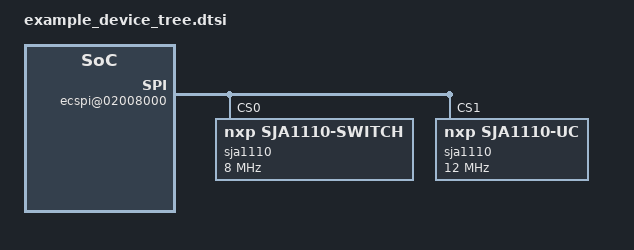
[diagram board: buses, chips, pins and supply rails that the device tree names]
/**
 * Example device tree configuration of the SPI interface for NXP SJA1110
 */

/ {
	ecspi@02008000 {
		#address-cells = <0x1>;
		#size-cells = <0x0>;
		compatible = "fsl,imx6q-ecspi", "fsl,imx51-ecspi";
		reg = <0x2008000 0x4000>;
		interrupts = <0x0 0x1f 0x4>;
		clocks = <0x3 0x70 0x3 0x70>;
		clock-names = "ipg", "per";
		dmas = <0x6 0x3 0x7 0x1 0x6 0x4 0x7 0x2>;
		dma-names = "rx", "tx";
		status = "okay";
		fsl,spi-num-chipselects = <0x1>;
		cs-gpios = <0x9 0x13 0x0>;
		pinctrl-names = "default";
		pinctrl-0 = <0xa 0xb>;
		pinctrl-assert-gpios = <0xc 0x4 0x1>;

		/* the switch */
		sja1110@0 {
			compatible = "nxp,sja1110-switch";
			spi-max-frequency = <8000000>;
			reset-gpio = <195>;
			reg = <0x0>; /* CS */
		};

		/* the µC controlling the switch */
		sja1110@1 {
			compatible = "nxp,sja1110-uc";
			spi-max-frequency = <12000000>;
			reg = <0x1>; /* CS */
		};
	};
};
